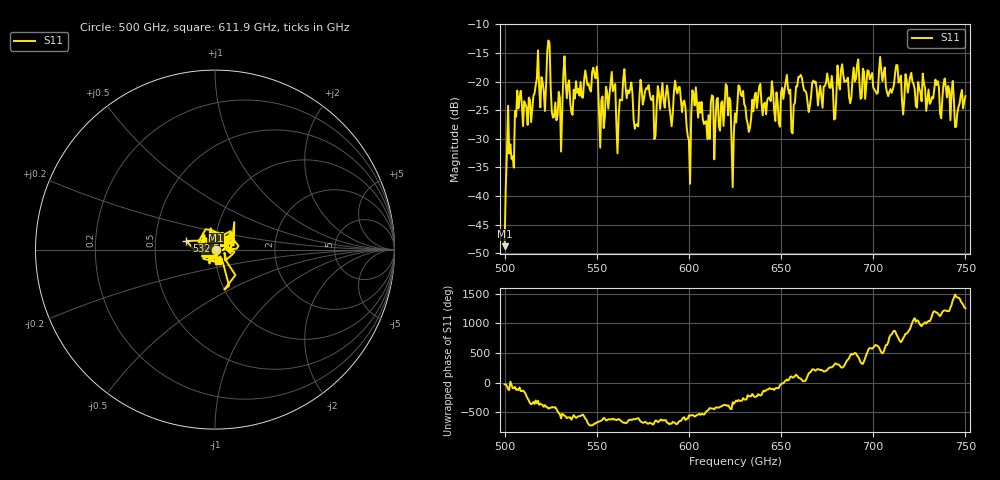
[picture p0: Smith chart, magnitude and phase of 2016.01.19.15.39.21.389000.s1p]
!Created with skrf (http://scikit-rf.org).
# GHz S RI R 50.0
!freq ReS11 ImS11
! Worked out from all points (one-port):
!   401 points, 500 GHz to 750 GHz, reference 50 ohm
!   lowest |S11| = -48.7 dB at 500 GHz (marker M1), VSWR 1.01, Z = 50.3 - j0.172 ohm
!   |S11| at or under -10 dB: start of sweep to end of sweep
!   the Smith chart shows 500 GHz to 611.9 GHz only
!   S11 on the Smith chart (normalised r, x): 500 GHz: 1.01, -0.00; 532.5 GHz: 0.72, +0.07; 611.9 GHz: 1.03, -0.13
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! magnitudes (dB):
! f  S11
! 500 GHz  -48.7
! 501.9 GHz  -24.2
! 507.5 GHz  -24.7
! 523.8 GHz  -12.8
! 526.9 GHz  -26.2
! 531.2 GHz  -25.1
! 532.5 GHz  -15.6
! 548.8 GHz  -18.7
! 552.5 GHz  -23.3
! 558.8 GHz  -21.7
! 562.5 GHz  -23.1
! 565.6 GHz  -21.0
! 571.2 GHz  -27.5
! 575 GHz  -24.0
! 593.8 GHz  -22.1
! 600 GHz  -30.3
! 603.1 GHz  -24.2
! 611.9 GHz  -23.7
! 621.2 GHz  -25.9
! 625 GHz  -25.5
! 628.1 GHz  -22.3
! 632.5 GHz  -28.8
! 653.1 GHz  -18.8
! 656.2 GHz  -29.1
! 660 GHz  -19.2
! 687.5 GHz  -23.8
! 718.8 GHz  -21.9
! 750 GHz  -22.5
